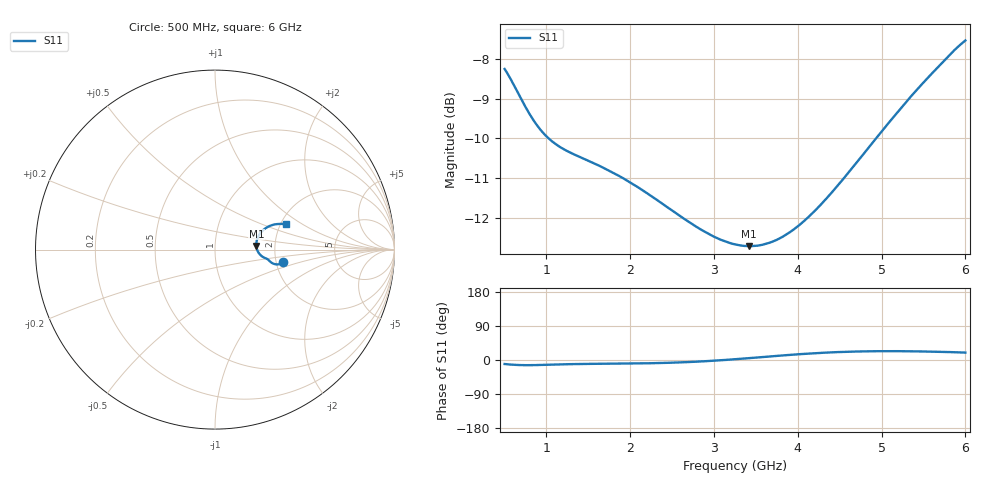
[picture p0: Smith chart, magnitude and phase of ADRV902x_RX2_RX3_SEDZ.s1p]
! Created Fri Aug 11 07:37:19 2017
! ADRV902x PRELIMINARY Packaged Device Port Z Model.
! RFIO Ports : RX2 & RX3.
! Z Format : SEDZ.
! Valid Frequency Range : 1 Ghz to 6 Ghz.
# hz S ma R 50
! 1 Port Network Data from SP2.SP block
! freq  magS11  angS11
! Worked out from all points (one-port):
!   551 points, 500 MHz to 6 GHz, reference 50 ohm
!   lowest |S11| = -12.7 dB at 3.42 GHz (marker M1), VSWR 1.60, Z = 79.8 + j3.34 ohm
!   |S11| at or under -10 dB: 1.025 GHz to 4.934 GHz (3.91 GHz wide, 131 % of centre)
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5e8  0.3868 -10.6
5.9e8  0.3726 -12.4
6.6e8  0.3608 -13.2
7.6e8  0.3448 -13.6
8.5e8  0.3326 -13.5
9.3e8  0.324 -13.1
1.01e9  0.3173 -12.6
1.19e9  0.3071 -11.4
1.44e9  0.2982 -10.4
1.88e9  0.283 -9.6
2.25e9  0.2674 -8.5
2.57e9  0.2534 -6.5
2.96e9  0.2388 -2.4
3.25e9  0.2324 2.0
3.42e9  0.2312 4.9
3.54e9  0.2317 7.1
3.68e9  0.2339 9.6
3.8e9  0.237 11.7
3.94e9  0.2422 14.1
4.08e9  0.249 16.2
4.24e9  0.2586 18.4
4.44e9  0.2729 20.5
4.63e9  0.2885 22.0
4.99e9  0.3215 23.3
5.32e9  0.3541 23.1
5.54e9  0.3758 22.3
5.8e9  0.4017 21.0
6e9  0.4202 19.5
